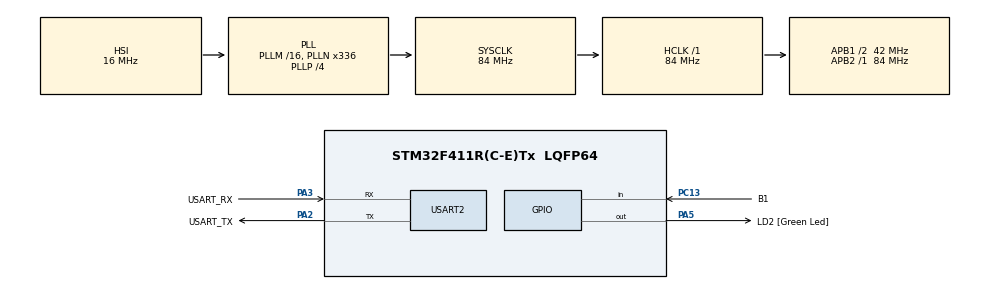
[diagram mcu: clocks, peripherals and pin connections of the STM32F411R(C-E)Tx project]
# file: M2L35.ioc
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Mcu.Family=STM32F4
Mcu.Name=STM32F411R(C-E)Tx
Mcu.Package=LQFP64
NVIC.PriorityGroup=NVIC_PRIORITYGROUP_0
PA13.GPIO_Label=TMS
PA13.Mode=Serial_Wire
PA13.Signal=SYS_JTMS-SWDIO
PA14.GPIO_Label=TCK
PA14.Mode=Serial_Wire
PA14.Signal=SYS_JTCK-SWCLK
PA2.GPIO_Label=USART_TX
PA2.Mode=Asynchronous
PA2.Signal=USART2_TX
PA3.GPIO_Label=USART_RX
PA3.Mode=Asynchronous
PA3.Signal=USART2_RX
PA5.GPIO_Label=LD2 [Green Led]
PA5.Signal=GPIO_Output
PB3.GPIO_Label=SWO
PB3.Signal=SYS_JTDO-SWO
PC13-ANTI_TAMP.GPIO_Label=B1
PC13-ANTI_TAMP.Signal=GPIO_Input
PC14-OSC32_IN.Mode=LSE-External-Oscillator
PC14-OSC32_IN.Signal=RCC_OSC32_IN
PC15-OSC32_OUT.Mode=LSE-External-Oscillator
PC15-OSC32_OUT.Signal=RCC_OSC32_OUT
PH0\ -\ OSC_IN.Mode=HSE-External-Clock-Source
PH0\ -\ OSC_IN.Signal=RCC_OSC_IN
PH1\ -\ OSC_OUT.Mode=HSE-External-Clock-Source
PH1\ -\ OSC_OUT.Signal=RCC_OSC_OUT
ProjectManager.HeapSize=0x200
ProjectManager.StackSize=0x400
ProjectManager.TargetToolchain=STM32CubeIDE
RCC.48MHZClocksFreq_Value=84000000
RCC.AHBFreq_Value=84000000
RCC.APB1CLKDivider=RCC_HCLK_DIV2
RCC.APB1Freq_Value=42000000
RCC.APB1TimFreq_Value=84000000
RCC.APB2Freq_Value=84000000
RCC.APB2TimFreq_Value=84000000
RCC.CortexFreq_Value=84000000
RCC.FLatency-AdvancedSettings=FLASH_LATENCY_2
RCC.HCLKFreq_Value=84000000
RCC.HSE_VALUE=8000000
RCC.HSI_VALUE=16000000
RCC.PLLN=336
RCC.PLLP=RCC_PLLP_DIV4
RCC.SYSCLKFreq_VALUE=84000000
RCC.SYSCLKSource=RCC_SYSCLKSOURCE_PLLCLK
RCC.VCOOutputFreq_Value=336000000
USART2.VirtualMode=VM_ASYNC
board=NUCLEO-F411RE

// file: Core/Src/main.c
/* USER CODE BEGIN Header */
/**
 ******************************************************************************
 * @file           : main.c
 * @brief          : Main program body
 ******************************************************************************
 * @attention
 *
 * Copyright (c) 2021 STMicroelectronics.
 * All rights reserved.
 *
 * This software is licensed under terms that can be found in the LICENSE file
 * in the root directory of this software component.
 * If no LICENSE file comes with this software, it is provided AS-IS.
 *
 ******************************************************************************
 */
/* USER CODE END Header */
#include "main.h"
#include "usart.h"
#include "gpio.h"

/* USER CODE BEGIN Includes */
#include "button.h"
/* USER CODE END Includes */

/* USER CODE BEGIN PV */
TButton BlueKey;
/* USER CODE END PV */

void SystemClock_Config(void);
/* USER CODE BEGIN PFP */
void TurnOnLed(void);
void TurnOffLed(void);
void TogleLed(void);
/* USER CODE END PFP */

int main(void)
{

	/* MCU Configuration--------------------------------------------------------*/

	/* Reset of all peripherals, Initializes the Flash interface and the Systick. */
	HAL_Init();

	/* Configure the system clock */
	SystemClock_Config();

	/* Initialize all configured peripherals */
	MX_GPIO_Init();
	MX_USART2_UART_Init();
	/* USER CODE BEGIN 2 */

	// adres do obiektu
	ButtonInitKey(&BlueKey, B1_GPIO_Port, B1_Pin, 20, 2000, 100,10,700);
	ButtonRegisterPressCallback(&BlueKey, TurnOnLed);
	ButtonRegisterLongPressCallback(&BlueKey,TurnOffLed);
	ButtonRegisterRepeatCallback(&BlueKey, TogleLed);
	ButtonRegisterReleaseTogleCallback(&BlueKey, TogleLed);
	ButtonRegisterOffCallback(&BlueKey,TurnOffLed);

	/* USER CODE END 2 */

	/* Infinite loop */
	/* USER CODE BEGIN WHILE */
	while (1)
	{
		ButtonTask(&BlueKey);
		/* USER CODE END WHILE */

	}
}

void SystemClock_Config(void)
{
	RCC_OscInitTypeDef RCC_OscInitStruct =
	{ 0 };
	RCC_ClkInitTypeDef RCC_ClkInitStruct =
	{ 0 };

	/** Configure the main internal regulator output voltage
	 */
	__HAL_RCC_PWR_CLK_ENABLE();
	__HAL_PWR_VOLTAGESCALING_CONFIG(PWR_REGULATOR_VOLTAGE_SCALE1);
	/** Initializes the RCC Oscillators according to the specified parameters
	 * in the RCC_OscInitTypeDef structure.
	 */
	RCC_OscInitStruct.OscillatorType = RCC_OSCILLATORTYPE_HSI;
	RCC_OscInitStruct.HSIState = RCC_HSI_ON;
	RCC_OscInitStruct.HSICalibrationValue = RCC_HSICALIBRATION_DEFAULT;
	RCC_OscInitStruct.PLL.PLLState = RCC_PLL_ON;
	RCC_OscInitStruct.PLL.PLLSource = RCC_PLLSOURCE_HSI;
	RCC_OscInitStruct.PLL.PLLM = 16;
	RCC_OscInitStruct.PLL.PLLN = 336;
	RCC_OscInitStruct.PLL.PLLP = RCC_PLLP_DIV4;
	RCC_OscInitStruct.PLL.PLLQ = 4;
	if (HAL_RCC_OscConfig(&RCC_OscInitStruct) != HAL_OK)
	{
		Error_Handler();
	}
	/** Initializes the CPU, AHB and APB buses clocks
	 */
	RCC_ClkInitStruct.ClockType = RCC_CLOCKTYPE_HCLK | RCC_CLOCKTYPE_SYSCLK
			| RCC_CLOCKTYPE_PCLK1 | RCC_CLOCKTYPE_PCLK2;
	RCC_ClkInitStruct.SYSCLKSource = RCC_SYSCLKSOURCE_PLLCLK;
	RCC_ClkInitStruct.AHBCLKDivider = RCC_SYSCLK_DIV1;
	RCC_ClkInitStruct.APB1CLKDivider = RCC_HCLK_DIV2;
	RCC_ClkInitStruct.APB2CLKDivider = RCC_HCLK_DIV1;

	if (HAL_RCC_ClockConfig(&RCC_ClkInitStruct, FLASH_LATENCY_2) != HAL_OK)
	{
		Error_Handler();
	}
}

/* USER CODE BEGIN 4 */

void TogleLed(void)
{
	HAL_GPIO_TogglePin(LD2_GPIO_Port, LD2_Pin);
}

void TurnOnLed(void)
{
	HAL_GPIO_WritePin(LD2_GPIO_Port, LD2_Pin, GPIO_PIN_SET);
}

void TurnOffLed(void)
{
	HAL_GPIO_WritePin(LD2_GPIO_Port, LD2_Pin, GPIO_PIN_RESET);
}
/* USER CODE END 4 */

void Error_Handler(void)
{
	__disable_irq();
	while (1)
	{
	}
}
